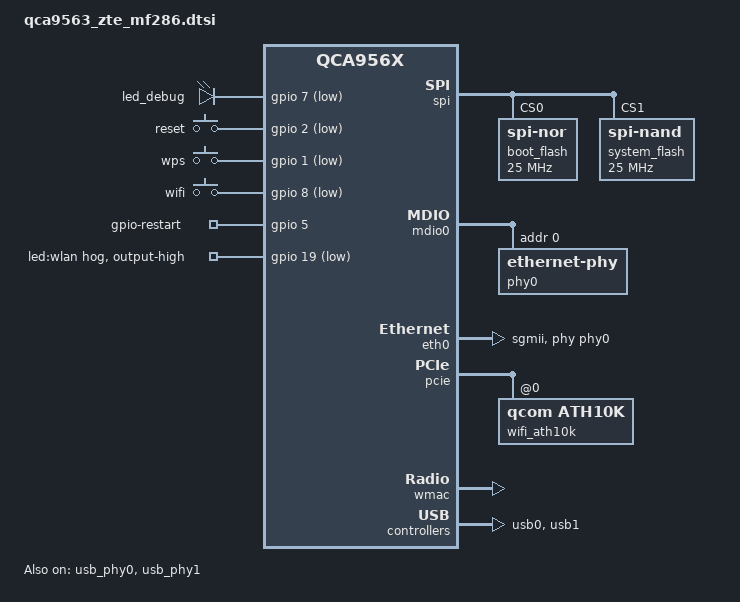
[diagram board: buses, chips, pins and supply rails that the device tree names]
// SPDX-License-Identifier: GPL-2.0-or-later OR MIT
// Copyright (c) 2021 Cezary Jackiewicz
// Copyright (c) 2021, 2022 Lech Perczak
#include "qca956x.dtsi"

#include <dt-bindings/gpio/gpio.h>
#include <dt-bindings/input/input.h>
#include <dt-bindings/leds/common.h>

/ {
	aliases {
		led-boot = &led_debug;
		led-failsafe = &led_debug;
		led-running = &led_debug;
		led-upgrade = &led_debug;
		label-mac-device = &eth0;
	};

	leds {
		compatible = "gpio-leds";

		/* Hidden SMD LED below signal strength LEDs.
		 * Visible through slits underside of the case,
		 * and slightly through the case below signal state LEDs
		 */
		led_debug: led-0 {
			function = LED_FUNCTION_DEBUG;
			gpios = <&gpio 7 GPIO_ACTIVE_LOW>;
			default-state = "on";
		};
	};

	keys {
		compatible = "gpio-keys";

		reset {
			label = "reset";
			linux,code = <KEY_RESTART>;
			gpios = <&gpio 2 GPIO_ACTIVE_LOW>;
			debounce-interval = <60>;
		};

		wps {
			label = "wps";
			linux,code = <KEY_WPS_BUTTON>;
			gpios = <&gpio 1 GPIO_ACTIVE_LOW>;
			debounce-interval = <60>;
		};

		wifi {
			label = "wifi";
			linux,code = <KEY_RFKILL>;
			gpios = <&gpio 8 GPIO_ACTIVE_LOW>;
			debounce-interval = <60>;
		};
	};

	/* This GPIO is used to reset whole board _including_ the modem */
	gpio-restart {
		compatible = "gpio-restart";
		gpios = <&gpio 5 GPIO_ACTIVE_HIGH>;
		active-delay = <3000>;
		inactive-delay = <1000>;
	};
};

&gpio {
	/* GPIO19 is used as a mask to enable WLAN LED
	 * in stock firmware, which is controlled directly
	 * by 5GHz Wi-Fi chip, which currently is inactive
	 * in OpenWrt
	 */
	led-wlan {
		gpio-hog;
		gpios = <19 GPIO_ACTIVE_LOW>;
		output-high;
		line-name = "led:wlan";
	};
};

&spi {
	status = "okay";

	boot_flash: flash@0 {
		compatible = "jedec,spi-nor";
		reg = <0>;
		spi-max-frequency = <25000000>;

		partitions {
			compatible = "fixed-partitions";
			#address-cells = <1>;
			#size-cells = <1>;
		};
	};

	system_flash: flash@1 {
		compatible = "spi-nand";
		reg = <1>;
		spi-max-frequency = <25000000>;

		partitions {
			compatible = "fixed-partitions";
			#address-cells = <1>;
			#size-cells = <1>;
		};
	};
};

&mdio0 {
	status = "okay";

	phy-mask = <0>;
	phy0: ethernet-phy@0 {
		reg = <0>;
		phy-mode = "sgmii";

		qca,ar8327-initvals = <
			0x04 0x00080080 /* PORT0 PAD MODE CTRL */
			0x7c 0x0000007e /* PORT0_STATUS */
		>;
	};
};

&eth0 {
	status = "okay";

	phy-mode = "sgmii";
	phy-handle = <&phy0>;
};

&pcie {
	status = "okay";

	wifi_ath10k: wifi@0,0 {
		compatible = "qcom,ath10k";
		reg = <0x0 0 0 0 0>;
	};
};

&wmac {
	status = "okay";
};

&usb_phy0 {
	status = "okay";
};

&usb0 {
	status = "okay";
};

&usb_phy1 {
	status = "okay";
};

&usb1 {
	status = "okay";
};
